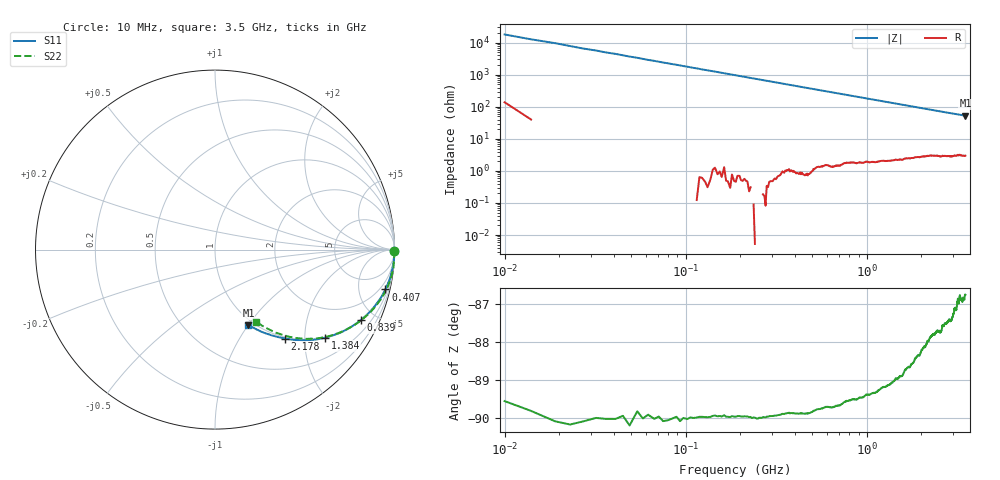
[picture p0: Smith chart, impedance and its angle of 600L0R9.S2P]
!  American Technical Ceramics  Date:  4/27/2005
!  One Norden Lane
!  Huntington Station,  NY.  11746-2102
!  Tel:  (631) 622-4700  Fax:  (631) 622-4748
!  Part Number  600L0R9AT  Mounting Orientation:  Horizontal
!  Description: Ultra Low ESR Microwave capacitors
!  Application: Coupling, Bypass, Tuning, DC Block
!  Filters, Matching
# GHZ S DB R 50
! Freq  |S11|  S11 Ph  |S21|  S21 Ph  |S12|  S12 Ph  |S22|  S22 Ph
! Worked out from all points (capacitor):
!   801 points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, 10 MHz to 3.5 GHz, reference 50 ohm
!   read as one part in series: C = 876 fF near 27 MHz
!   lowest |Z| = 52.8 ohm at 3.5 GHz (marker M1)
!   S11 on the Smith chart (normalised r, x): 10 MHz: open; 407 MHz: 0.95, -8.56; 839 MHz: 0.98, -4.15; 1.384 GHz: 0.98, -2.52; 2.178 GHz: 0.97, -1.60; 3.5 GHz: 0.94, -1.00
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0.01  -0.01 -0.3  -45.16 89.2  -45.27 88.5  -0.01 -0.5
0.019  -0.01 -0.7  -39.74 89.5  -39.70 89.5  -0.01 -0.6
0.036  -0.01 -1.2  -34.01 88.8  -33.97 88.8  -0.01 -1.2
0.049  -0.01 -1.7  -31.36 88.6  -31.31 88.5  -0.01 -1.5
0.062  -0.01 -2.1  -29.29 87.9  -29.24 87.9  -0.01 -2.0
0.075  -0.01 -2.5  -27.65 87.6  -27.61 87.6  -0.01 -2.4
0.097  -0.01 -3.2  -25.44 86.8  -25.40 86.9  -0.01 -3.1
0.123  -0.02 -4.1  -23.37 86.0  -23.33 85.9  -0.01 -4.0
0.171  -0.04 -5.6  -20.54 84.4  -20.50 84.4  -0.01 -5.5
0.232  -0.08 -7.6  -17.93 82.5  -17.88 82.4  -0.03 -7.5
0.315  -0.13 -10.2  -15.33 79.8  -15.28 79.8  -0.08 -10.1
0.407  -0.22 -13.2  -13.20 76.8  -13.15 76.8  -0.17 -12.9
0.494  -0.32 -15.8  -11.61 74.1  -11.56 74.1  -0.27 -15.6
0.595  -0.47 -18.9  -10.14 71.0  -10.09 70.9  -0.41 -18.6
0.839  -0.89 -25.8  -7.58 63.9  -7.54 63.8  -0.85 -25.4
1.175  -1.60 -34.2  -5.39 55.4  -5.34 55.3  -1.57 -33.6
1.384  -2.09 -38.7  -4.48 50.8  -4.43 50.7  -2.07 -38.0
1.755  -3.00 -45.5  -3.37 43.8  -3.34 43.7  -2.98 -44.5
2.178  -4.00 -51.8  -2.61 37.6  -2.58 37.6  -4.00 -50.0
2.34  -4.37 -53.9  -2.40 35.6  -2.36 35.6  -4.38 -51.8
2.92  -5.59 -60.5  -1.88 30.1  -1.84 30.0  -5.62 -56.8
3.5  -6.73 -66.2  -1.59 25.7  -1.53 25.8  -6.73 -60.4
